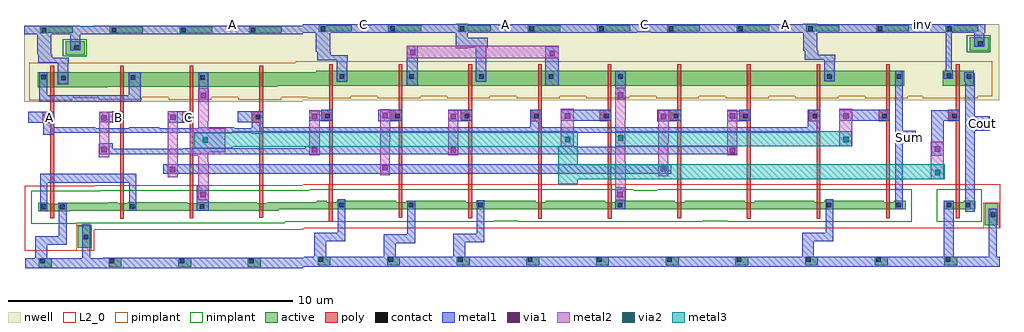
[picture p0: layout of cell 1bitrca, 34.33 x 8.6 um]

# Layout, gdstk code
import gdstk
lib = gdstk.Library(unit=1e-6, precision=1e-09)
def R(c, l, rs):  # rectangles x0, y0, x1, y1
    for r in rs: c.add(gdstk.rectangle(r[:2], r[2:], *l))
def A(c, l, x, y, w, h, nx, ny, dx, dy):  # array of equal rectangles
    R(c, l, [(x+i*dx, y+j*dy, x+i*dx+w, y+j*dy+h) for i in range(nx) for j in range(ny)])
def P(c, l, *ps):  # polygons
    for p in ps: c.add(gdstk.Polygon(p, *l))
L2_0 = (2, 0)
nwell = (3, 0)
active = (6, 0)
poly = (17, 0)
pimplant = (25, 0)
nimplant = (26, 0)
contact = (30, 0)
metal1 = (31, 0)
metal2 = (32, 0)
metal3 = (33, 0)
via1 = (51, 0)
via2 = (52, 0)

c_1bitrca = lib.new_cell('1bitrca')
A(c_1bitrca, L2_0, -1080.59, 639.625, 2.45, 1.555, 3, 1, 2.45, 0)
A(c_1bitrca, L2_0, -1073.24, 639.675, 2.45, 1.555, 10, 1, 2.45, 0)
P(c_1bitrca, L2_0, [(-1083.05,638.885),(-1080.6,638.885),(-1080.6,639.615),(-1080.59,639.615),(-1080.59,641.17),(-1083.04,641.17),(-1083.04,639.615),(-1083.05,639.615)])
A(c_1bitrca, nwell, -1080.62, 644.13, 2.45, 2.67, 3, 1, 2.45, 0)
A(c_1bitrca, nwell, -1073.27, 644.18, 2.45, 2.67, 10, 1, 2.45, 0)
R(c_1bitrca, nwell, [(-1083.07,644.12,-1080.62,646.79)])
A(c_1bitrca, active, -1080.095, 638.32, 0.45, 0.31, 3, 1, 2.45, 0)
A(c_1bitrca, active, -1072.745, 638.37, 0.45, 0.31, 10, 1, 2.45, 0)
A(c_1bitrca, active, -1072.795, 644.695, 1.085, 0.52, 5, 1, 4.9, 0)
A(c_1bitrca, active, -1066.81, 644.695, 3.815, 0.52, 3, 1, 4.9, 0)
R(c_1bitrca, active, [(-1082.545,638.31,-1082.095,638.62), (-1081.175,638.995,-1080.73,639.755), (-1049.27,639.785,-1048.825,640.545), (-1082.595,644.635,-1081.51,645.155), (-1077.695,644.645,-1076.61,645.165), (-1071.71,644.695,-1067.89,645.215), (-1050.745,644.695,-1049.66,645.215), (-1081.595,645.775,-1080.93,646.26), (-1049.805,645.91,-1049.14,646.395)])
P(c_1bitrca, active, [(-1082.5,646.525),(-1082.23,646.525),(-1082.23,646.545),(-1081.35,646.545),(-1081.35,646.755),(-1082.23,646.755),(-1082.23,646.79),(-1082.5,646.79)],
  [(-1081.51,644.635),(-1080.145,644.635),(-1080.145,644.645),(-1077.695,644.645),(-1077.695,645.165),(-1081.51,645.165)],
  [(-1080.115,640.285),(-1077.665,640.285),(-1077.665,640.59),(-1079.42,640.59),(-1079.42,640.545),(-1079.775,640.545),(-1079.775,640.59),(-1080.115,640.59)],
  [(-1080.05,646.535),(-1079.78,646.535),(-1079.78,646.555),(-1078.9,646.555),(-1078.9,646.765),(-1079.78,646.765),(-1079.78,646.8),(-1080.05,646.8)],
  [(-1082.565,640.275),(-1081.46,640.275),(-1081.46,640.285),(-1080.115,640.285),(-1080.115,640.58),(-1081.87,640.58),(-1081.87,640.535),(-1082.225,640.535),(-1082.225,640.58),(-1082.565,640.58)],
  [(-1065.415,640.335),(-1064.31,640.335),(-1064.31,640.64),(-1064.72,640.64),(-1064.72,640.595),(-1065.075,640.595),(-1065.075,640.64),(-1065.415,640.64)],
  [(-1060.515,640.335),(-1059.41,640.335),(-1059.41,640.64),(-1059.82,640.64),(-1059.82,640.595),(-1060.175,640.595),(-1060.175,640.64),(-1060.515,640.64)],
  [(-1054.51,640.335),(-1052.06,640.335),(-1052.06,640.64),(-1052.47,640.64),(-1052.47,640.595),(-1052.825,640.595),(-1052.825,640.64),(-1054.51,640.64)],
  [(-1050.715,640.335),(-1049.61,640.335),(-1049.61,640.64),(-1050.02,640.64),(-1050.02,640.595),(-1050.375,640.595),(-1050.375,640.64),(-1050.715,640.64)],
  [(-1055.615,640.335),(-1054.51,640.335),(-1054.51,640.64),(-1054.92,640.64),(-1054.92,640.595),(-1055.275,640.595),(-1055.275,640.64),(-1055.615,640.64)],
  [(-1059.41,640.335),(-1055.615,640.335),(-1055.615,640.64),(-1057.37,640.64),(-1057.37,640.595),(-1057.725,640.595),(-1057.725,640.64),(-1059.41,640.64)],
  [(-1064.31,640.335),(-1060.515,640.335),(-1060.515,640.64),(-1062.27,640.64),(-1062.27,640.595),(-1062.625,640.595),(-1062.625,640.64),(-1064.31,640.64)],
  [(-1077.665,640.285),(-1075.215,640.285),(-1075.215,640.59),(-1076.97,640.59),(-1076.97,640.545),(-1077.325,640.545),(-1077.325,640.59),(-1077.665,640.59)],
  [(-1071.66,640.335),(-1067.865,640.335),(-1067.865,640.64),(-1069.62,640.64),(-1069.62,640.595),(-1069.975,640.595),(-1069.975,640.64),(-1071.66,640.64)],
  [(-1075.215,640.285),(-1074.11,640.285),(-1074.11,640.59),(-1074.52,640.59),(-1074.52,640.545),(-1074.875,640.545),(-1074.875,640.59),(-1075.215,640.59)],
  [(-1067.865,640.335),(-1065.415,640.335),(-1065.415,640.64),(-1067.17,640.64),(-1067.17,640.595),(-1067.525,640.595),(-1067.525,640.64),(-1067.865,640.64)],
  [(-1074.11,640.335),(-1071.66,640.335),(-1071.66,640.64),(-1072.07,640.64),(-1072.07,640.595),(-1072.425,640.595),(-1072.425,640.64),(-1072.765,640.64),(-1072.765,640.59),(-1074.11,640.59)],
  [(-1065.35,646.585),(-1065.08,646.585),(-1065.08,646.605),(-1064.2,646.605),(-1064.2,646.815),(-1065.08,646.815),(-1065.08,646.85),(-1065.35,646.85)],
  [(-1067.8,646.585),(-1067.53,646.585),(-1067.53,646.605),(-1066.65,646.605),(-1066.65,646.815),(-1067.53,646.815),(-1067.53,646.85),(-1067.8,646.85)],
  [(-1077.6,646.535),(-1077.33,646.535),(-1077.33,646.555),(-1076.45,646.555),(-1076.45,646.765),(-1077.33,646.765),(-1077.33,646.8),(-1077.6,646.8)],
  [(-1076.61,644.65),(-1075.245,644.65),(-1075.245,644.645),(-1074.16,644.645),(-1074.16,644.695),(-1072.79,644.695),(-1072.79,645.165),(-1076.61,645.165)],
  [(-1075.15,646.535),(-1074.88,646.535),(-1074.88,646.555),(-1074,646.555),(-1074,646.765),(-1074.88,646.765),(-1074.88,646.8),(-1075.15,646.8)],
  [(-1072.7,646.585),(-1072.43,646.585),(-1072.43,646.605),(-1071.55,646.605),(-1071.55,646.815),(-1072.43,646.815),(-1072.43,646.85),(-1072.7,646.85)],
  [(-1070.25,646.585),(-1069.98,646.585),(-1069.98,646.605),(-1069.1,646.605),(-1069.1,646.815),(-1069.98,646.815),(-1069.98,646.85),(-1070.25,646.85)],
  [(-1053.1,646.585),(-1052.83,646.585),(-1052.83,646.605),(-1051.95,646.605),(-1051.95,646.815),(-1052.83,646.815),(-1052.83,646.85),(-1053.1,646.85)],
  [(-1050.65,646.585),(-1050.38,646.585),(-1050.38,646.605),(-1049.5,646.605),(-1049.5,646.815),(-1050.38,646.815),(-1050.38,646.85),(-1050.65,646.85)],
  [(-1058,646.585),(-1057.73,646.585),(-1057.73,646.605),(-1056.85,646.605),(-1056.85,646.815),(-1057.73,646.815),(-1057.73,646.85),(-1058,646.85)],
  [(-1055.55,646.585),(-1055.28,646.585),(-1055.28,646.605),(-1054.4,646.605),(-1054.4,646.815),(-1055.28,646.815),(-1055.28,646.85),(-1055.55,646.85)],
  [(-1062.9,646.585),(-1062.63,646.585),(-1062.63,646.605),(-1061.75,646.605),(-1061.75,646.815),(-1062.63,646.815),(-1062.63,646.85),(-1062.9,646.85)],
  [(-1060.45,646.585),(-1060.18,646.585),(-1060.18,646.605),(-1059.3,646.605),(-1059.3,646.815),(-1060.18,646.815),(-1060.18,646.85),(-1060.45,646.85)])
P(c_1bitrca, poly, [(-1082.41,643.375),(-1082.14,643.375),(-1082.14,640.02),(-1082.01,640.02),(-1082.01,645.385),(-1082.14,645.385),(-1082.14,643.775),(-1082.41,643.775)],
  [(-1079.96,643.385),(-1079.69,643.385),(-1079.69,640.015),(-1079.56,640.015),(-1079.56,645.395),(-1079.69,645.395),(-1079.69,643.785),(-1079.96,643.785)],
  [(-1067.71,643.435),(-1067.44,643.435),(-1067.44,640.02),(-1067.31,640.02),(-1067.31,645.445),(-1067.44,645.445),(-1067.44,643.835),(-1067.71,643.835)],
  [(-1077.51,643.385),(-1077.24,643.385),(-1077.24,640.03),(-1077.11,640.03),(-1077.11,645.395),(-1077.24,645.395),(-1077.24,643.785),(-1077.51,643.785)],
  [(-1075.06,643.385),(-1074.79,643.385),(-1074.79,640.05),(-1074.655,640.05),(-1074.655,641.17),(-1074.66,641.17),(-1074.66,645.395),(-1074.79,645.395),(-1074.79,643.785),(-1075.06,643.785)],
  [(-1072.61,643.435),(-1072.34,643.435),(-1072.34,641.22),(-1072.35,641.22),(-1072.35,639.895),(-1072.205,639.895),(-1072.205,641.22),(-1072.21,641.22),(-1072.21,645.445),(-1072.34,645.445),(-1072.34,643.835),(-1072.61,643.835)],
  [(-1070.16,643.435),(-1069.89,643.435),(-1069.89,640.04),(-1069.76,640.04),(-1069.76,645.445),(-1069.89,645.445),(-1069.89,643.835),(-1070.16,643.835)],
  [(-1065.26,643.435),(-1064.99,643.435),(-1064.99,640.01),(-1064.86,640.01),(-1064.86,645.445),(-1064.99,645.445),(-1064.99,643.835),(-1065.26,643.835)],
  [(-1060.36,643.435),(-1060.09,643.435),(-1060.09,640.02),(-1059.96,640.02),(-1059.96,645.445),(-1060.09,645.445),(-1060.09,643.835),(-1060.36,643.835)],
  [(-1053.01,643.435),(-1052.74,643.435),(-1052.74,640.02),(-1052.61,640.02),(-1052.61,645.445),(-1052.74,645.445),(-1052.74,643.835),(-1053.01,643.835)],
  [(-1062.54,640.01),(-1062.395,640.01),(-1062.395,641.22),(-1062.41,641.22),(-1062.41,642.54),(-1062.54,642.54)],
  [(-1057.91,643.435),(-1057.64,643.435),(-1057.64,640.015),(-1057.51,640.015),(-1057.51,645.445),(-1057.64,645.445),(-1057.64,643.835),(-1057.91,643.835)],
  [(-1055.46,643.435),(-1055.19,643.435),(-1055.19,640.01),(-1055.06,640.01),(-1055.06,645.445),(-1055.19,645.445),(-1055.19,643.835),(-1055.46,643.835)],
  [(-1050.56,643.435),(-1050.29,643.435),(-1050.29,640.025),(-1050.16,640.025),(-1050.16,645.445),(-1050.29,645.445),(-1050.29,643.835),(-1050.56,643.835)],
  [(-1062.81,643.435),(-1062.54,643.435),(-1062.54,642.54),(-1062.41,642.54),(-1062.41,645.445),(-1062.54,645.445),(-1062.54,643.835),(-1062.81,643.835)])
R(c_1bitrca, pimplant, [(-1081.23,638.885,-1080.68,639.79), (-1049.325,639.675,-1048.775,640.58)])
P(c_1bitrca, pimplant, [(-1082.885,644.18),(-1081.38,644.18),(-1081.38,644.265),(-1080.855,644.265),(-1080.855,645.49),(-1082.885,645.49)],
  [(-1080.855,644.265),(-1080.435,644.265),(-1080.435,644.19),(-1078.93,644.19),(-1078.93,644.275),(-1078.405,644.275),(-1078.405,645.5),(-1080.855,645.5)],
  [(-1065.735,644.24),(-1064.23,644.24),(-1064.23,644.325),(-1063.705,644.325),(-1063.705,645.55),(-1065.735,645.55)],
  [(-1073.505,644.275),(-1073.085,644.275),(-1073.085,644.24),(-1071.58,644.24),(-1071.58,644.325),(-1071.055,644.325),(-1071.055,644.32),(-1070.635,644.32),(-1070.635,645.55),(-1073.505,645.55)],
  [(-1068.605,644.325),(-1068.185,644.325),(-1068.185,644.24),(-1066.68,644.24),(-1066.68,644.325),(-1066.155,644.325),(-1066.155,644.32),(-1065.735,644.32),(-1065.735,645.55),(-1068.605,645.55)],
  [(-1075.535,644.19),(-1074.03,644.19),(-1074.03,644.275),(-1073.505,644.275),(-1073.505,645.5),(-1075.535,645.5)],
  [(-1070.635,644.24),(-1069.13,644.24),(-1069.13,644.325),(-1068.605,644.325),(-1068.605,645.55),(-1070.635,645.55)],
  [(-1078.405,644.275),(-1077.985,644.275),(-1077.985,644.19),(-1076.48,644.19),(-1076.48,644.275),(-1075.535,644.275),(-1075.535,645.5),(-1078.405,645.5)],
  [(-1053.905,644.325),(-1053.485,644.325),(-1053.485,644.24),(-1051.98,644.24),(-1051.98,644.325),(-1051.455,644.325),(-1051.455,644.25),(-1051.035,644.25),(-1051.035,645.55),(-1053.905,645.55)],
  [(-1055.935,644.24),(-1054.43,644.24),(-1054.43,644.325),(-1053.905,644.325),(-1053.905,645.55),(-1055.935,645.55)],
  [(-1060.835,644.24),(-1059.33,644.24),(-1059.33,644.325),(-1058.805,644.325),(-1058.805,645.55),(-1060.835,645.55)],
  [(-1063.705,644.325),(-1063.285,644.325),(-1063.285,644.24),(-1061.78,644.24),(-1061.78,644.325),(-1061.255,644.325),(-1061.255,644.32),(-1060.835,644.32),(-1060.835,645.55),(-1063.705,645.55)],
  [(-1058.805,644.325),(-1058.385,644.325),(-1058.385,644.24),(-1056.88,644.24),(-1056.88,644.325),(-1056.355,644.325),(-1056.355,644.31),(-1055.935,644.31),(-1055.935,645.55),(-1058.805,645.55)],
  [(-1051.035,644.24),(-1049.53,644.24),(-1049.53,644.325),(-1049.005,644.325),(-1049.005,645.55),(-1051.035,645.55)])
R(c_1bitrca, nimplant, [(-1080.37,639.845,-1077.92,641.005), (-1077.92,639.845,-1076.34,641.005), (-1073.02,639.895,-1070.565,641.055), (-1070.57,639.895,-1068.99,641.055), (-1065.67,639.895,-1063.22,641.055), (-1058.32,639.895,-1055.87,641.055), (-1055.87,639.895,-1053.42,641.055), (-1053.42,639.895,-1051.84,641.055), (-1050.97,639.895,-1049.39,641.055), (-1081.7,645.725,-1080.865,646.33), (-1049.91,645.86,-1049.075,646.465)])
P(c_1bitrca, nimplant, [(-1082.82,639.835),(-1081.24,639.835),(-1081.24,639.845),(-1080.37,639.845),(-1080.37,640.995),(-1082.82,640.995)],
  [(-1076.34,639.85),(-1075.47,639.85),(-1075.47,639.845),(-1073.89,639.845),(-1073.89,639.895),(-1073.02,639.895),(-1073.02,641.005),(-1076.34,641.005)],
  [(-1068.99,639.895),(-1066.54,639.895),(-1066.54,639.915),(-1065.67,639.915),(-1065.67,641.055),(-1068.99,641.055)],
  [(-1063.22,639.895),(-1060.77,639.895),(-1060.77,641.01),(-1061.64,641.01),(-1061.64,641.055),(-1063.22,641.055)],
  [(-1060.77,639.895),(-1059.19,639.895),(-1059.19,639.925),(-1058.32,639.925),(-1058.32,641.045),(-1059.19,641.045),(-1059.19,641.055),(-1060.77,641.055)])
A(c_1bitrca, contact, -1080.05, 638.445, 0.16, 0.16, 3, 1, 2.45, 0)
A(c_1bitrca, contact, -1072.7, 638.495, 0.16, 0.16, 10, 1, 2.45, 0)
A(c_1bitrca, contact, -1071.99, 640.41, 0.16, 0.16, 3, 1, 2.45, 0)
A(c_1bitrca, contact, -1079.82, 643.5, 0.16, 0.16, 3, 1, 2.45, 0)
A(c_1bitrca, contact, -1072.47, 643.55, 0.16, 0.16, 8, 1, 2.45, 0)
A(c_1bitrca, contact, -1071.965, 644.94, 0.16, 0.16, 5, 1, 2.45, 0)
A(c_1bitrca, contact, -1054.815, 644.94, 0.16, 0.16, 3, 1, 2.45, 0)
A(c_1bitrca, contact, -1079.99, 646.57, 0.16, 0.16, 3, 1, 2.45, 0)
A(c_1bitrca, contact, -1072.64, 646.62, 0.16, 0.16, 10, 1, 2.45, 0)
R(c_1bitrca, contact, [(-1082.5,638.435,-1082.34,638.595), (-1080.975,639.28,-1080.815,639.44), (-1049.07,640.07,-1048.91,640.23), (-1082.46,640.35,-1082.3,640.51), (-1081.79,640.35,-1081.63,640.51), (-1079.34,640.36,-1079.18,640.52), (-1076.89,640.36,-1076.73,640.52), (-1062.19,640.41,-1062.03,640.57), (-1054.84,640.41,-1054.68,640.57), (-1052.39,640.41,-1052.23,640.57), (-1050.61,640.41,-1050.45,640.57), (-1049.94,640.41,-1049.78,640.57), (-1082.27,643.49,-1082.11,643.65), (-1052.875,643.55,-1052.715,643.71), (-1050.42,643.55,-1050.26,643.71), (-1081.765,644.88,-1081.605,645.04), (-1079.315,644.89,-1079.155,645.05), (-1076.865,644.89,-1076.705,645.05), (-1082.465,644.91,-1082.305,645.07), (-1050.615,644.97,-1050.455,645.13), (-1081.305,645.96,-1081.145,646.12), (-1049.515,646.095,-1049.355,646.255), (-1082.44,646.56,-1082.28,646.72)])
A(c_1bitrca, metal1, -1073.27, 646.55, 1.96, 0.3, 3, 1, 4.9, 0)
A(c_1bitrca, metal1, -1058.57, 646.55, 2.45, 0.3, 3, 1, 2.45, 0)
R(c_1bitrca, metal1, [(-1078.13,638.275,-1075.605,638.63), (-1075.68,638.275,-1073.25,638.63), (-1082.67,638.31,-1082.255,639.4), (-1070.78,638.325,-1068.16,638.68), (-1068.33,638.325,-1065.705,638.68), (-1065.88,638.325,-1063.22,638.68), (-1063.43,638.325,-1060.86,638.68), (-1060.98,638.325,-1058.415,638.68), (-1058.53,638.325,-1056.005,638.68), (-1056.08,638.325,-1053.54,638.68), (-1053.63,638.325,-1051.05,638.68), (-1051.18,638.325,-1048.75,638.68), (-1070.41,638.37,-1069.995,639.46), (-1050.715,638.37,-1050.365,640.64), (-1067.97,638.39,-1067.555,639.48), (-1072.86,638.43,-1072.445,639.52), (-1055.7,638.43,-1055.285,639.52), (-1081.02,638.62,-1080.735,639.815), (-1082.495,639.095,-1081.575,639.4), (-1070.235,639.155,-1069.315,639.46), (-1067.795,639.175,-1066.875,639.48), (-1072.685,639.215,-1071.765,639.52), (-1055.525,639.215,-1054.605,639.52), (-1081.845,639.4,-1081.575,640.58), (-1069.585,639.46,-1069.315,640.64), (-1067.145,639.48,-1066.875,640.66), (-1072.035,639.52,-1071.765,640.7), (-1054.875,639.52,-1054.605,640.7), (-1049.955,640.255,-1049.635,645.135), (-1082.5,640.275,-1082.26,641.42), (-1079.375,640.285,-1079.125,641.445), (-1076.985,640.285,-1076.57,641.18), (-1062.27,640.335,-1061.925,641.12), (-1052.43,640.335,-1052.165,645.215), (-1082.5,641.27,-1079.125,641.595), (-1078.17,641.6,-1060.305,641.93), (-1051.15,642.225,-1050.725,643.825), (-1052.165,642.66,-1051.7,643.105), (-1049.635,643.11,-1049.1,643.615), (-1055.46,643.45,-1055.06,643.835), (-1050.725,643.45,-1050.51,643.825), (-1050.56,643.45,-1050.16,643.835), (-1082.53,644.12,-1082.245,645.155), (-1082.53,644.13,-1078.97,644.36), (-1076.92,644.13,-1076.595,645.165), (-1062.265,644.205,-1061.91,645.215), (-1079.39,644.3,-1078.97,645.165), (-1069.6,644.695,-1069.215,646.095), (-1064.74,644.695,-1064.265,646.075), (-1081.88,644.735,-1081.51,645.49), (-1067.18,644.82,-1066.81,646.02), (-1072.075,644.825,-1071.705,645.58), (-1050.005,644.83,-1049.675,645.17), (-1054.93,644.85,-1054.56,645.605), (-1082.605,645.8,-1082.11,646.755), (-1072.8,645.89,-1072.305,646.845), (-1055.655,645.915,-1055.16,646.87), (-1081.44,645.93,-1081.085,646.49), (-1067.885,646.01,-1067.455,646.87), (-1067.885,646.02,-1066.765,646.37), (-1049.65,646.065,-1049.295,646.625), (-1078.17,646.5,-1076.21,646.8), (-1051.22,646.55,-1049.26,646.85)])
P(c_1bitrca, metal1, [(-1071.31,646.55),(-1068.37,646.55),(-1068.37,646.845),(-1068.86,646.845),(-1068.86,646.85),(-1070.82,646.85),(-1070.82,646.835),(-1071.31,646.835)],
  [(-1064.195,643.455),(-1062.81,643.455),(-1062.81,643.45),(-1062.41,643.45),(-1062.41,643.835),(-1064.195,643.835)],
  [(-1065.26,643.45),(-1065.255,643.45),(-1065.255,643.045),(-1064.86,643.045),(-1064.86,643.835),(-1065.26,643.835)],
  [(-1058.335,643.44),(-1057.91,643.44),(-1057.91,643.45),(-1057.51,643.45),(-1057.51,643.835),(-1057.91,643.835),(-1057.91,643.815),(-1058.335,643.815)],
  [(-1075.545,643.395),(-1075.06,643.395),(-1075.06,642.99),(-1074.66,642.99),(-1074.66,643.785),(-1075.545,643.785)],
  [(-1066.41,646.55),(-1063.465,646.55),(-1063.465,646.85),(-1065.92,646.85),(-1065.92,646.84),(-1066.41,646.84)],
  [(-1080.62,646.5),(-1078.15,646.5),(-1078.15,646.795),(-1078.66,646.795),(-1078.66,646.8),(-1080.62,646.8)],
  [(-1061.51,646.56),(-1061.02,646.56),(-1061.02,646.55),(-1058.565,646.55),(-1058.565,646.85),(-1061.51,646.85)],
  [(-1082.4,643.025),(-1055.06,643.025),(-1055.06,643.835),(-1055.51,643.835),(-1055.51,643.235),(-1074.905,643.235),(-1074.905,643.185),(-1075.67,643.185),(-1075.67,643.235),(-1076.91,643.235),(-1076.91,643.185),(-1078.32,643.185),(-1078.32,643.235),(-1079.365,643.235),(-1079.365,643.2),(-1080.565,643.2),(-1080.565,643.235),(-1082.4,643.235)],
  [(-1060.795,643.44),(-1060.34,643.44),(-1060.34,643.45),(-1059.96,643.45),(-1059.96,643.835),(-1060.795,643.835)],
  [(-1068.15,643.435),(-1067.71,643.435),(-1067.71,643.45),(-1067.31,643.45),(-1067.31,643.835),(-1068.15,643.835)],
  [(-1073.035,643.45),(-1072.21,643.45),(-1072.21,643.835),(-1072.61,643.835),(-1072.61,643.805),(-1073.035,643.805)],
  [(-1076.21,646.5),(-1073.76,646.5),(-1073.76,646.505),(-1073.27,646.505),(-1073.27,646.8),(-1076.21,646.8)],
  [(-1070.605,643.43),(-1070.14,643.43),(-1070.14,643.45),(-1069.76,643.45),(-1069.76,643.835),(-1070.605,643.835)],
  [(-1082.915,643.39),(-1082.4,643.39),(-1082.4,642.96),(-1082.01,642.96),(-1082.01,643.775),(-1082.915,643.775)],
  [(-1073.435,638.325),(-1070.66,638.325),(-1070.66,638.68),(-1073.23,638.68),(-1073.23,638.63),(-1073.435,638.63)],
  [(-1083.07,646.49),(-1080.62,646.49),(-1080.62,646.785),(-1081.11,646.785),(-1081.11,646.79),(-1083.07,646.79)],
  [(-1080.58,638.275),(-1078.11,638.275),(-1078.11,638.63),(-1080.285,638.63),(-1080.285,638.62),(-1080.58,638.62)],
  [(-1080.43,643.4),(-1079.56,643.4),(-1079.56,643.785),(-1079.96,643.785),(-1079.96,643.765),(-1080.43,643.765)],
  [(-1078.015,643.39),(-1077.51,643.39),(-1077.51,643.4),(-1077.11,643.4),(-1077.11,643.785),(-1078.015,643.785)],
  [(-1083.03,638.265),(-1080.6,638.265),(-1080.6,638.275),(-1080.58,638.275),(-1080.58,638.62),(-1083.03,638.62)],
  [(-1054.4,643.455),(-1053.015,643.455),(-1053.015,643.45),(-1052.615,643.45),(-1052.615,643.835),(-1054.4,643.835)],
  [(-1082.565,645.49),(-1081.49,645.49),(-1081.49,645.67),(-1082.08,645.67),(-1082.08,645.8),(-1082.565,645.8)],
  [(-1049.135,638.68),(-1048.86,638.68),(-1048.86,638.985),(-1048.85,638.985),(-1048.85,640.36),(-1049.135,640.36)],
  [(-1080.43,642.28),(-1080.415,642.28),(-1080.415,642.275),(-1079.94,642.275),(-1079.94,642.28),(-1057.975,642.28),(-1057.975,642.56),(-1062,642.56),(-1062,642.54),(-1063.59,642.54),(-1063.59,642.56),(-1073.185,642.56),(-1073.185,642.485),(-1077.475,642.485),(-1077.475,642.475),(-1079.94,642.475),(-1079.94,642.665),(-1080.43,642.665)],
  [(-1072.76,645.58),(-1071.685,645.58),(-1071.685,645.76),(-1072.275,645.76),(-1072.275,645.89),(-1072.76,645.89)],
  [(-1055.615,645.605),(-1054.54,645.605),(-1054.54,645.785),(-1055.13,645.785),(-1055.13,645.915),(-1055.615,645.915)],
  [(-1050.725,644.925),(-1050.405,644.925),(-1050.405,645.225),(-1050.435,645.225),(-1050.435,646.565),(-1050.65,646.565),(-1050.65,645.265),(-1050.665,645.265),(-1050.665,645.155),(-1050.725,645.155)])
R(c_1bitrca, metal2, [(-1051.18,641.4,-1050.725,642.72), (-1064.195,642.56,-1063.74,643.88), (-1054.4,642.56,-1053.945,643.88), (-1069.6,645.65,-1064.265,646.095)])
P(c_1bitrca, metal2, [(-1080.435,642.18),(-1080.07,642.18),(-1080.07,643.765),(-1080.43,643.765),(-1080.43,642.625),(-1080.435,642.625)],
  [(-1078.015,641.475),(-1077.67,641.475),(-1077.67,642.65),(-1077.655,642.65),(-1077.655,643.79),(-1078.015,643.79)],
  [(-1068.155,642.235),(-1067.79,642.235),(-1067.79,643.82),(-1068.15,643.82),(-1068.15,642.68),(-1068.155,642.68)],
  [(-1073.04,642.235),(-1072.675,642.235),(-1072.675,643.82),(-1073.035,643.82),(-1073.035,642.68),(-1073.04,642.68)],
  [(-1070.545,641.54),(-1070.2,641.54),(-1070.2,642.715),(-1070.185,642.715),(-1070.185,643.855),(-1070.545,643.855)],
  [(-1077.24,642.22),(-1076.94,642.22),(-1076.94,640.655),(-1076.57,640.655),(-1076.57,642),(-1076.595,642),(-1076.595,642.34),(-1075.985,642.34),(-1075.985,643.185),(-1076.595,643.185),(-1076.595,643.46),(-1076.58,643.46),(-1076.58,644.6),(-1076.94,644.6),(-1076.94,643.19),(-1077.24,643.19)],
  [(-1058.34,642.25),(-1057.975,642.25),(-1057.975,643.835),(-1058.335,643.835),(-1058.335,642.695),(-1058.34,642.695)],
  [(-1060.755,641.505),(-1060.41,641.505),(-1060.41,642.68),(-1060.395,642.68),(-1060.395,643.82),(-1060.755,643.82)],
  [(-1062.27,640.665),(-1061.9,640.665),(-1061.9,642.01),(-1061.925,642.01),(-1061.925,643.47),(-1061.91,643.47),(-1061.91,644.61),(-1062.27,644.61)])
P(c_1bitrca, metal3, [(-1077.075,642.485),(-1075.745,642.485),(-1075.745,642.54),(-1064.285,642.54),(-1064.285,641.23),(-1063.59,641.23),(-1063.59,641.4),(-1050.675,641.4),(-1050.675,641.93),(-1063.59,641.93),(-1063.59,643.08),(-1075.745,643.08),(-1075.745,643.025),(-1077.075,643.025)],
  [(-1062.27,642.56),(-1053.95,642.56),(-1053.95,643.08),(-1061.65,643.08),(-1061.65,643.095),(-1062.27,643.095)])
R(c_1bitrca, via1, [(-1076.87,640.76,-1076.68,640.95), (-1062.2,640.77,-1062.01,640.96), (-1077.935,641.65,-1077.745,641.84), (-1060.675,641.68,-1060.485,641.87), (-1070.465,641.715,-1070.275,641.905), (-1058.24,642.315,-1058.05,642.505), (-1072.95,642.33,-1072.76,642.52), (-1068.065,642.33,-1067.875,642.52), (-1080.345,642.355,-1080.155,642.545), (-1051.035,642.37,-1050.845,642.56), (-1080.345,643.46,-1080.155,643.65), (-1077.93,643.485,-1077.74,643.675), (-1072.95,643.515,-1072.76,643.705), (-1068.065,643.515,-1067.875,643.705), (-1060.67,643.515,-1060.48,643.705), (-1064.05,643.53,-1063.86,643.72), (-1058.25,643.53,-1058.06,643.72), (-1054.255,643.53,-1054.065,643.72), (-1070.46,643.55,-1070.27,643.74), (-1076.85,644.255,-1076.66,644.445), (-1062.18,644.265,-1061.99,644.455), (-1064.585,645.73,-1064.395,645.92), (-1069.49,645.755,-1069.3,645.945)])
R(c_1bitrca, via2, [(-1051.025,641.54,-1050.835,641.73), (-1076.79,642.685,-1076.6,642.875), (-1064.04,642.7,-1063.85,642.89), (-1054.245,642.7,-1054.055,642.89), (-1062.175,642.75,-1061.985,642.94)])
c_1bitrca.add(gdstk.Label('B', (-1080.39,647.985), layer=131, texttype=0))
c_1bitrca.add(gdstk.Label('A', (-1083.52,647.935), layer=131, texttype=0))
c_1bitrca.add(gdstk.Label('B', (-1079.74,643.58), layer=30, texttype=0))
c_1bitrca.add(gdstk.Label('A', (-1082.19,643.57), layer=30, texttype=0))
c_1bitrca.add(gdstk.Label('C', (-1071.115,646.85), layer=131, texttype=0))
c_1bitrca.add(gdstk.Label('A', (-1066.135,646.85), layer=131, texttype=0))
c_1bitrca.add(gdstk.Label('B', (-1068.995,648.465), layer=131, texttype=0))
c_1bitrca.add(gdstk.Label('C', (-1077.69,647.985), layer=131, texttype=0))
c_1bitrca.add(gdstk.Label('A', (-1075.73,646.85), layer=131, texttype=0))
c_1bitrca.add(gdstk.Label('B', (-1073.98,648.515), layer=131, texttype=0))
c_1bitrca.add(gdstk.Label('C', (-1077.29,643.58), layer=30, texttype=0))
c_1bitrca.add(gdstk.Label('inv', (-1051.455,646.85), layer=131, texttype=0))
c_1bitrca.add(gdstk.Label('B', (-1059.35,648.515), layer=131, texttype=0))
c_1bitrca.add(gdstk.Label('A', (-1056.275,646.85), layer=131, texttype=0))
c_1bitrca.add(gdstk.Label('C', (-1061.26,646.85), layer=131, texttype=0))
c_1bitrca.add(gdstk.Label('N2', (-1054,648.73), layer=131, texttype=0))
c_1bitrca.add(gdstk.Label('N1', (-1063.75,648.62), layer=131, texttype=0))
c_1bitrca.add(gdstk.Label('Sum', (-1051.933,642.882), layer=131, texttype=0))
c_1bitrca.add(gdstk.Label('Cout', (-1049.368,643.362), layer=131, texttype=0))

lib.write_gds('1bitrca.gds')
